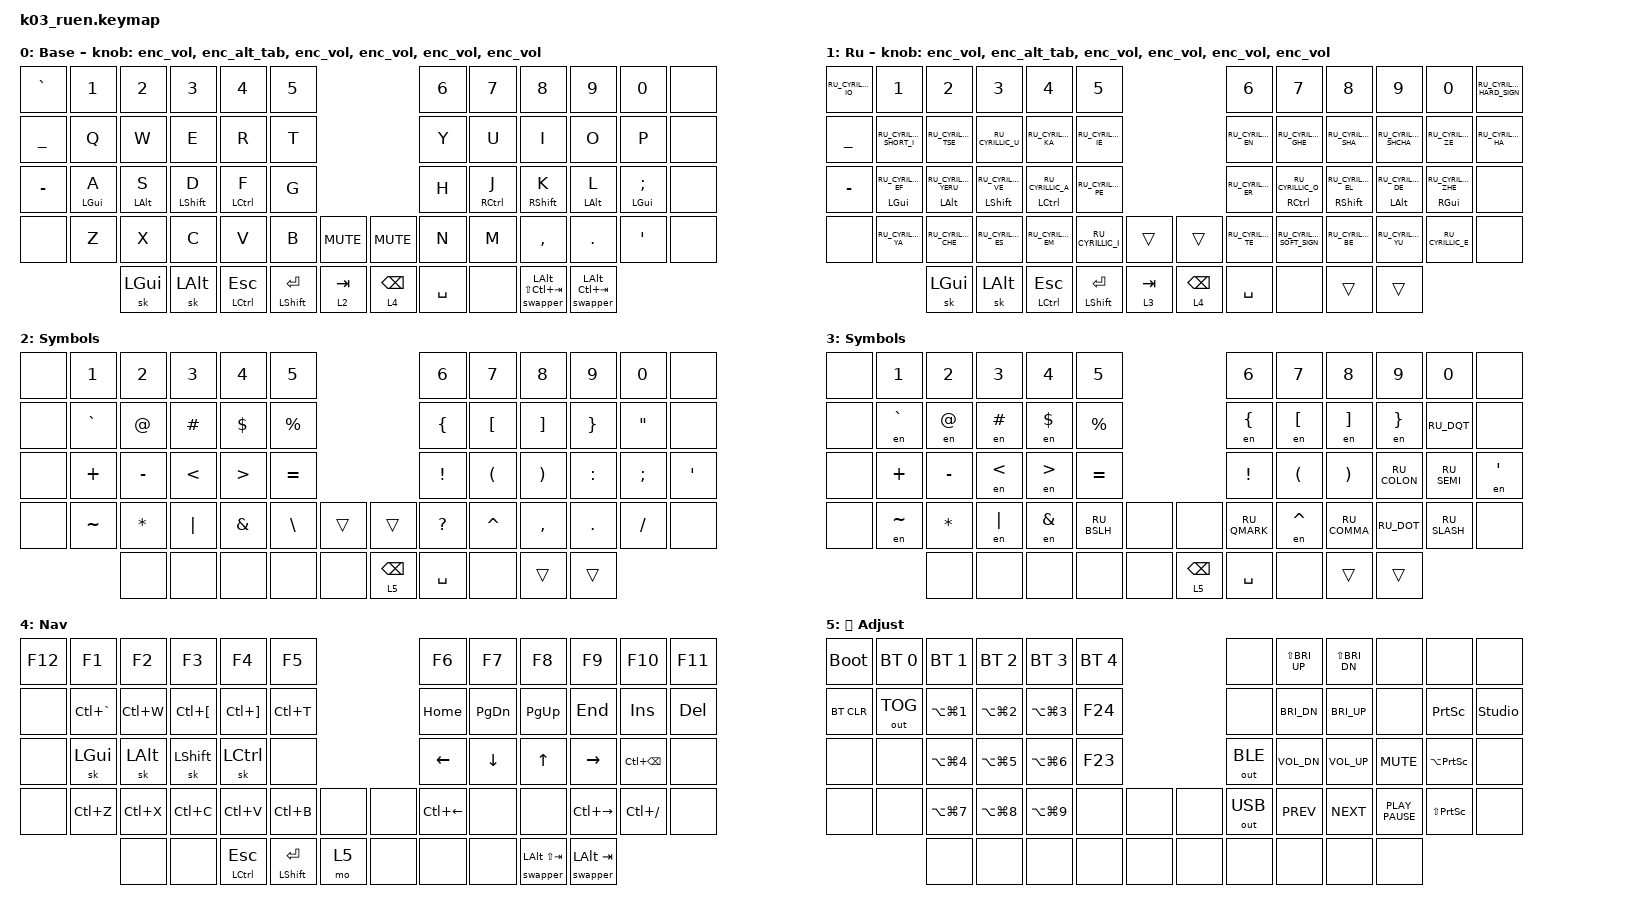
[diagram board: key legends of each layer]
#include "keys_ru.h"
#include <behaviors.dtsi>
#include <dt-bindings/zmk/bt.h>
#include <dt-bindings/zmk/keys.h>
#include <dt-bindings/zmk/outputs.h>
#include <dt-bindings/zmk/pointing.h>

&lt {
    flavor = "balanced";
    tapping-term-ms = <150>;
};

/ {
    behaviors {
        hml: home_row_mod_left {
            compatible = "zmk,behavior-hold-tap";
            #binding-cells = <2>;
            flavor = "balanced";
            require-prior-idle-ms = <50>;
            tapping-term-ms = <200>;
            quick-tap-ms = <175>;
            bindings = <&kp>, <&kp>;

            hold-trigger-key-positions = <5 6 7 8 9 15 16 17 18 19 29 33 34 35 0 1 2 3 4 5 6 7 8 9 10 11 12 13 14 15 16 17 18 19 20 21 22 23 24 29 30 31 32 33 34 35 36 37 38 39 40 41 42 43 44 45 46 47 48 49 50 51 52 53 54 55 56 57 58 59>;
            hold-trigger-on-release;
        };

        hmr: home_row_mod_right {
            compatible = "zmk,behavior-hold-tap";
            #binding-cells = <2>;
            flavor = "balanced";
            require-prior-idle-ms = <50>;
            tapping-term-ms = <200>;
            quick-tap-ms = <175>;
            bindings = <&kp>, <&kp>;

            hold-trigger-key-positions = <0 1 2 3 4 10 11 12 13 14 20 21 22 23 24 30 0 1 2 3 4 5 6 7 8 9 10 11 12 13 14 15 16 17 18 19 20 21 22 23 24 25 26 27 28 29 30 35 36 37 38 39 40 41 42 43 44 45 46 47 48 49 50 51 52 53 54 55 56 57 58 59>;
            hold-trigger-on-release;
        };

        enc_vol: enc_vol {
            compatible = "zmk,behavior-sensor-rotate";
            label = "ENC_VOL";
            #sensor-binding-cells = <0>;
            bindings = <&kp C_VOL_UP>, <&kp C_VOL_DN>;
        };

        sticky_swap: sticky_swap {
            compatible = "zmk,behavior-sticky-key";
            label = "STICKY_SWAP";
            bindings = <&kp>;
            #binding-cells = <1>;
            release-after-ms = <500>;
        };

        enc_alt_tab: enc_alt_tab {
            compatible = "zmk,behavior-sensor-rotate";
            label = "ENC_ALT_TAB";
            #sensor-binding-cells = <0>;
            bindings = <&swapper LALT LC(TAB)>, <&swapper LALT LS(LC(TAB))>;
        };

        enc_mouse_scroll_ver: enc_mouse_scroll_ver {
            compatible = "zmk,behavior-sensor-rotate";
            label = "ENC_MOUSE_SCROLL_VER";
            #sensor-binding-cells = <0>;
            bindings = <&msc SCRL_DOWN>, <&msc SCRL_UP>;

            tap-ms = <20>;
        };
    };

    combos {
        compatible = "zmk,combos";

        kha {
            bindings = <&kp RU_CYRILLIC_HA>;
            key-positions = <19 20>;
            layers = <1>;
        };

        hrdsgn {
            bindings = <&kp RU_CYRILLIC_HARD_SIGN>;
            key-positions = <20 21>;
            layers = <1>;
        };

        yo {
            bindings = <&kp RU_CYRILLIC_IO>;
            key-positions = <16 17>;
            layers = <1>;
        };

        cmben {
            bindings = <&layer_en>;
            key-positions = <15 14>;
            layers = <1>;
            require-prior-idle-ms = <200>;
            slow-release;
            timeout-ms = <50>;
        };

        cmbru {
            bindings = <&layer_ru>;
            key-positions = <15 16>;
            layers = <0>;
            require-prior-idle-ms = <200>;
            slow-release;
            timeout-ms = <50>;
        };

        cmben_none {
            bindings = <&none>;
            key-positions = <15 14>;
            layers = <0>;
            require-prior-idle-ms = <200>;
            slow-release;
            timeout-ms = <50>;
        };

        cmbru_none {
            bindings = <&none>;
            key-positions = <15 16>;
            layers = <1>;
            require-prior-idle-ms = <200>;
            slow-release;
            timeout-ms = <50>;
        };

        underscore {
            bindings = <&kp UNDER>;
            key-positions = <45 46>;
        };

        tmux_hor {
            bindings = <&tmux PRCNT>;
            key-positions = <40 41>;
            layers = <4>;
        };

        tmux_ver {
            bindings = <&tmux DQT>;
            key-positions = <41 29>;
            layers = <4>;
        };

        cmb_space {
            bindings = <&kp SPACE>;
            key-positions = <46 47>;
        };

        cmb_enter {
            bindings = <&kp ENTER>;
            key-positions = <47 48>;
        };

        cmb_backspace {
            bindings = <&kp BACKSPACE>;
            key-positions = <33 34>;
        };

        cmb_ctrl_backspace {
            bindings = <&kp LC(BACKSPACE)>;
            key-positions = <33 34 32>;
        };

        cmb_dot {
            bindings = <&kp DOT>;
            key-positions = <38 39>;
            layers = <0>;
        };

        cmb_dot_ru {
            bindings = <&kp RU_DOT>;
            key-positions = <38 39>;
            layers = <1>;
        };

        cmb_comma {
            bindings = <&kp COMMA>;
            key-positions = <39 40>;
            layers = <0>;
        };

        cmb_comma_ru {
            bindings = <&kp RU_COMMA>;
            key-positions = <39 40>;
            layers = <1>;
        };
    };

    macros {
        to_ru: to_ru {
            compatible = "zmk,behavior-macro";
            #binding-cells = <0>;
            bindings = <&kp LS(CAPS)>;
            label = "TO_RU";
            wait-ms = <0>;
            tap-ms = <30>;
        };

        to_en: to_en {
            compatible = "zmk,behavior-macro";
            #binding-cells = <0>;
            bindings = <&kp CAPS>;
            label = "TO_EN";
            wait-ms = <0>;
            tap-ms = <30>;
        };

        layer_en: layer_en {
            compatible = "zmk,behavior-macro";
            #binding-cells = <0>;
            bindings = <&to 0 &to_en>;
            label = "LAYER_EN";
            wait-ms = <0>;
            tap-ms = <30>;
        };

        layer_ru: layer_ru {
            compatible = "zmk,behavior-macro";
            #binding-cells = <0>;
            bindings = <&to 1 &to_ru>;
            label = "LAYER_RU";
            tap-ms = <30>;
            wait-ms = <0>;
        };

        en: en {
            compatible = "zmk,behavior-macro-one-param";
            #binding-cells = <1>;
            bindings =
                <&to_en>,
                <&macro_press>,
                <&macro_param_1to1 &kp MACRO_PLACEHOLDER>,
                <&macro_pause_for_release>,
                <&macro_release>,
                <&macro_param_1to1 &kp MACRO_PLACEHOLDER>,
                <&macro_tap>,
                <&to_ru>;

            label = "EN";
            wait-ms = <0>;
            tap-ms = <30>;
        };

        tmux: tmux {
            compatible = "zmk,behavior-macro-one-param";
            #binding-cells = <1>;
            bindings = <&kp LC(B) &macro_param_1to1 &kp MACRO_PLACEHOLDER>;
            label = "TMUX";
        };

        swapper: swapper {
            compatible = "zmk,behavior-macro-two-param";
            #binding-cells = <2>;
            bindings =
                <&macro_press>,
                <&macro_param_1to1 &kp MACRO_PLACEHOLDER>,
                <&macro_tap>,
                <&macro_param_2to1 &kp MACRO_PLACEHOLDER &macro_param_1to1 &sticky_swap MACRO_PLACEHOLDER>,
                <&macro_release>,
                <&macro_param_1to1 &kp MACRO_PLACEHOLDER>;

            label = "SWAPPER";
        };
    };

    keymap {
        compatible = "zmk,keymap";

        en {
            bindings = <
&kp GRAVE  &kp N1       &kp N2       &kp N3        &kp N4         &kp N5                                        &kp N6     &kp N7        &kp N8                     &kp N9                 &kp N0          &none
&kp UNDER  &kp Q        &kp W        &kp E         &kp R          &kp T                                         &kp Y      &kp U         &kp I                      &kp O                  &kp P           &none
&kp MINUS  &hml LGUI A  &hml LALT S  &hml LSHFT D  &hml LCTRL F   &kp G                                         &kp H      &hmr RCTRL J  &hmr RSHFT K               &hmr LALT L            &hmr LGUI SEMI  &none
&none      &kp Z        &kp X        &kp C         &kp V          &kp B          &kp K_MUTE    &kp K_MUTE       &kp N      &kp M         &kp COMMA                  &kp DOT                &kp SQT         &none
                        &sk LGUI     &sk LALT      &mt LCTRL ESC  &mt LSHFT RET  &lt 2 TAB     &lt 4 BACKSPACE  &kp SPACE  &none         &swapper LALT LS(LC(TAB))  &swapper LALT LC(TAB)
            >;

            display-name = "Base";
            sensor-bindings =
                <&enc_vol>,
                <&enc_alt_tab>,
                <&enc_vol>,
                <&enc_vol>,
                <&enc_vol>,
                <&enc_vol>;
        };

        ru {
            display-name = "Ru";
            bindings = <
&kp RU_CYRILLIC_IO  &kp N1                    &kp N2                      &kp N3                     &kp N4                    &kp N5                                            &kp N6              &kp N7                     &kp N8                     &kp N9                    &kp N0                     &kp RU_CYRILLIC_HARD_SIGN
&kp UNDER           &kp RU_CYRILLIC_SHORT_I   &kp RU_CYRILLIC_TSE         &kp RU_CYRILLIC_U          &kp RU_CYRILLIC_KA        &kp RU_CYRILLIC_IE                                &kp RU_CYRILLIC_EN  &kp RU_CYRILLIC_GHE        &kp RU_CYRILLIC_SHA        &kp RU_CYRILLIC_SHCHA     &kp RU_CYRILLIC_ZE         &kp RU_CYRILLIC_HA
&kp MINUS           &hml LGUI RU_CYRILLIC_EF  &hml LALT RU_CYRILLIC_YERU  &hml LSHFT RU_CYRILLIC_VE  &hml LCTRL RU_CYRILLIC_A  &kp RU_CYRILLIC_PE                                &kp RU_CYRILLIC_ER  &hmr RCTRL RU_CYRILLIC_O   &hmr RSHFT RU_CYRILLIC_EL  &hmr LALT RU_CYRILLIC_DE  &hmr RGUI RU_CYRILLIC_ZHE  &none
&none               &kp RU_CYRILLIC_YA        &kp RU_CYRILLIC_CHE         &kp RU_CYRILLIC_ES         &kp RU_CYRILLIC_EM        &kp RU_CYRILLIC_I   &trans       &trans           &kp RU_CYRILLIC_TE  &kp RU_CYRILLIC_SOFT_SIGN  &kp RU_CYRILLIC_BE         &kp RU_CYRILLIC_YU        &kp RU_CYRILLIC_E          &none
                                              &sk LGUI                    &sk LALT                   &mt LCTRL ESC             &mt LSHIFT RET      &lt 3 TAB    &lt 4 BACKSPACE  &kp SPACE           &none                      &trans                     &trans
            >;

            sensor-bindings =
                <&enc_vol>,
                <&enc_alt_tab>,
                <&enc_vol>,
                <&enc_vol>,
                <&enc_vol>,
                <&enc_vol>;
        };

        sym_en {
            bindings = <
&none  &kp N1     &kp N2     &kp N3    &kp N4    &kp N5                                &kp N6     &kp N7     &kp N8     &kp N9     &kp N0    &none
&none  &kp GRAVE  &kp AT     &kp HASH  &kp DLLR  &kp PRCNT                             &kp LBRC   &kp LBKT   &kp RBKT   &kp RBRC   &kp DQT   &none
&none  &kp PLUS   &kp MINUS  &kp LT    &kp GT    &kp EQUAL                             &kp EXCL   &kp LPAR   &kp RPAR   &kp COLON  &kp SEMI  &kp SQT
&none  &kp TILDE  &kp STAR   &kp PIPE  &kp AMPS  &kp BSLH   &trans    &trans           &kp QMARK  &kp CARET  &kp COMMA  &kp DOT    &kp FSLH  &none
                  &none      &none     &none     &none      &none     &lt 5 BACKSPACE  &kp SPACE  &none      &trans     &trans
            >;

            display-name = "Symbols";
        };

        sym_ru {
            display-name = "Symbols";
            bindings = <
&none  &kp N1     &kp N2     &kp N3    &kp N4    &kp N5                                 &kp N6        &kp N7     &kp N8        &kp N9        &kp N0        &none
&none  &en GRAVE  &en AT     &en HASH  &en DLLR  &kp PRCNT                              &en LBRC      &en LBKT   &en RBKT      &en RBRC      &kp RU_DQT    &none
&none  &kp PLUS   &kp MINUS  &en LT    &en GT    &kp EQUAL                              &kp EXCL      &kp LPAR   &kp RPAR      &kp RU_COLON  &kp RU_SEMI   &en SQT
&none  &en TILDE  &kp STAR   &en PIPE  &en AMPS  &kp RU_BSLH  &none    &none            &kp RU_QMARK  &en CARET  &kp RU_COMMA  &kp RU_DOT    &kp RU_SLASH  &none
                  &none      &none     &none     &none        &none    &lt 5 BACKSPACE  &kp SPACE     &none      &trans        &trans
            >;
        };

        nav {
            bindings = <
&kp F12  &kp F1         &kp F2     &kp F3        &kp F4         &kp F5                            &kp F6        &kp F7     &kp F8                 &kp F9             &kp F10            &kp F11
&none    &kp LC(GRAVE)  &kp LC(W)  &kp LC(LBKT)  &kp LC(RBKT)   &kp LC(T)                         &kp HOME      &kp PG_DN  &kp PG_UP              &kp END            &kp INS            &kp DEL
&none    &sk LGUI       &sk LALT   &sk LSHFT     &sk LCTRL      &none                             &kp LEFT      &kp DOWN   &kp UP                 &kp RIGHT          &kp LC(BACKSPACE)  &none
&none    &kp LC(Z)      &kp LC(X)  &kp LC(C)     &kp LC(V)      &kp LC(B)         &none    &none  &kp LC(LEFT)  &none      &none                  &kp LC(RIGHT)      &kp LC(FSLH)       &none
                        &none      &none         &mt LCTRL ESC  &mt LSHIFT ENTER  &mo 5    &none  &none         &none      &swapper LALT LS(TAB)  &swapper LALT TAB
            >;

            display-name = "Nav";
        };

        adj {
            bindings = <
&bootloader  &bt BT_SEL 0  &bt BT_SEL 1    &bt BT_SEL 2    &bt BT_SEL 3    &bt BT_SEL 4                  &none         &kp LS(C_BRI_UP)  &kp LS(C_BRI_DN)  &none             &none                &none
&bt BT_CLR   &out OUT_TOG  &kp LA(LG(N1))  &kp LA(LG(N2))  &kp LA(LG(N3))  &kp F24                       &none         &kp C_BRI_DN      &kp C_BRI_UP      &none             &kp PRINTSCREEN      &studio_unlock
&none        &none         &kp LA(LG(N4))  &kp LA(LG(N5))  &kp LA(LG(N6))  &kp F23                       &out OUT_BLE  &kp C_VOL_DN      &kp C_VOL_UP      &kp K_MUTE        &kp LA(PRINTSCREEN)  &none
&none        &none         &kp LA(LG(N7))  &kp LA(LG(N8))  &kp LA(LG(N9))  &none         &none    &none  &out OUT_USB  &kp K_PREV        &kp K_NEXT        &kp K_PLAY_PAUSE  &kp LS(PRINTSCREEN)  &none
                           &none           &none           &none           &none         &none    &none  &none         &none             &none             &none
            >;

            display-name = "  Adjust";
        };
    };
};
